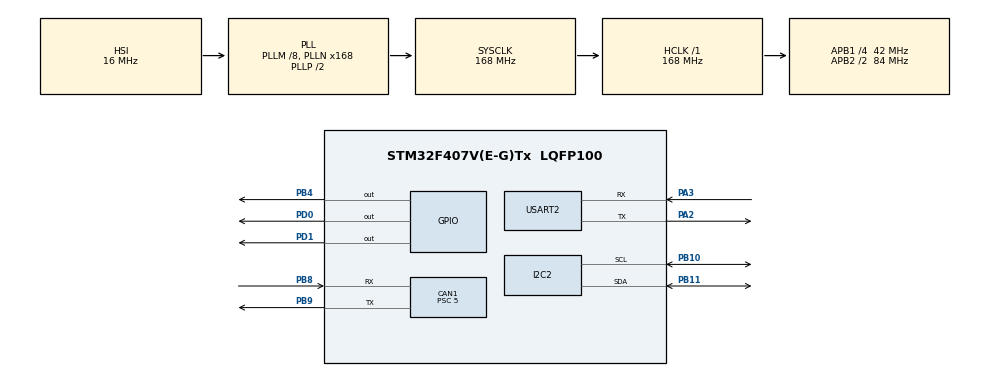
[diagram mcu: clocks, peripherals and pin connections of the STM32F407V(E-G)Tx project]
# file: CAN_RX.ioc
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CAN1.BS1=CAN_BS1_13TQ
CAN1.BS2=CAN_BS2_2TQ
CAN1.CalculateBaudRate=525000
CAN1.CalculateTimeBit=1904
CAN1.CalculateTimeQuantum=119.04761904761905
CAN1.NART=ENABLE
CAN1.Prescaler=5
Mcu.Family=STM32F4
Mcu.Name=STM32F407V(E-G)Tx
Mcu.Package=LQFP100
NVIC.PriorityGroup=NVIC_PRIORITYGROUP_0
PA2.Mode=Asynchronous
PA2.Signal=USART2_TX
PA3.Mode=Asynchronous
PA3.Signal=USART2_RX
PB10.Mode=I2C
PB10.Signal=I2C2_SCL
PB11.Mode=I2C
PB11.Signal=I2C2_SDA
PB4.Signal=GPIO_Output
PB8.Mode=CAN_Activate
PB8.Signal=CAN1_RX
PB9.Mode=CAN_Activate
PB9.Signal=CAN1_TX
PD0.Signal=GPIO_Output
PD1.Signal=GPIO_Output
ProjectManager.HeapSize=0x200
ProjectManager.StackSize=0x400
ProjectManager.TargetToolchain=STM32CubeIDE
RCC.48MHZClocksFreq_Value=48000000
RCC.AHBFreq_Value=168000000
RCC.APB1CLKDivider=RCC_HCLK_DIV4
RCC.APB1Freq_Value=42000000
RCC.APB1TimFreq_Value=84000000
RCC.APB2CLKDivider=RCC_HCLK_DIV2
RCC.APB2Freq_Value=84000000
RCC.APB2TimFreq_Value=168000000
RCC.CortexFreq_Value=168000000
RCC.HCLKFreq_Value=168000000
RCC.HSE_VALUE=8000000
RCC.HSI_VALUE=16000000
RCC.LSE_VALUE=32768
RCC.PLLM=8
RCC.PLLN=168
RCC.PLLQ=7
RCC.SYSCLKFreq_VALUE=168000000
RCC.SYSCLKSource=RCC_SYSCLKSOURCE_PLLCLK
RCC.VCOOutputFreq_Value=336000000
USART2.VirtualMode=VM_ASYNC
board=STM32F407G-DISC1

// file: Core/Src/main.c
/* USER CODE BEGIN Header */
/**
  ******************************************************************************
  * @file           : main.c
  * @brief          : Main program body
  ******************************************************************************
  * @attention
  *
  * Copyright (c) 2026 STMicroelectronics.
  * All rights reserved.
  *
  * This software is licensed under terms that can be found in the LICENSE file
  * in the root directory of this software component.
  * If no LICENSE file comes with this software, it is provided AS-IS.
  *
  ******************************************************************************
  */
/* USER CODE END Header */
#include "main.h"

/* USER CODE BEGIN Includes */
#include "common.h"
#include "can_driver.h"
#include "lcd.h"
#include "indicator.h"
#include "buzzer.h"
#include <stdio.h>
#include <string.h>
/* USER CODE END Includes */

CAN_HandleTypeDef hcan1;

I2C_HandleTypeDef hi2c2;

UART_HandleTypeDef huart2;

/* USER CODE BEGIN PV */
SensorData_t Sensor;
SystemStatus_t PrevStatus = STATUS_NORMAL;
/* USER CODE END PV */

void SystemClock_Config(void);
static void MX_GPIO_Init(void);
static void MX_CAN1_Init(void);
static void MX_I2C2_Init(void);
static void MX_USART2_UART_Init(void);

int main(void)
{

  /* MCU Configuration--------------------------------------------------------*/

  /* Reset of all peripherals, Initializes the Flash interface and the Systick. */
  HAL_Init();

  /* Configure the system clock */
  SystemClock_Config();

  /* Initialize all configured peripherals */
  MX_GPIO_Init();
  MX_CAN1_Init();
  MX_I2C2_Init();
  MX_USART2_UART_Init();
  /* USER CODE BEGIN 2 */
  CAN_Driver_Init();

  lcd_init();

  LCD_ShowWaiting();
  /* USER CODE END 2 */

  /* Infinite loop */
  /* USER CODE BEGIN WHILE */
  while (1)
  {
	  if (CAN_ReceivePacket(&Sensor) == HAL_OK)
	  {
	      Indicator_Update(Sensor.Status);

	      LCD_Update(&Sensor);
	      PrevStatus = Sensor.Status;

	      Buzzer_Update(Sensor.Status);
	      char uartMsg[100];

	      sprintf(uartMsg,
	               "STATUS:%s,TEMP:%d,HUM:%d,VIB:%d,GAS:%d\r\n",
	               (Sensor.Status == STATUS_NORMAL) ? "SAFE" : "EMERGENCY",
	               Sensor.Temperature,
	               Sensor.Humidity,
	               (uint16_t)Sensor.Vibration,
	               Sensor.GasDetected);

	      HAL_UART_Transmit(&huart2,
	                        (uint8_t *)uartMsg,
	                        strlen(uartMsg),
	                        HAL_MAX_DELAY);
	  }

    /* USER CODE END WHILE */

  }
}

void SystemClock_Config(void)
{
  RCC_OscInitTypeDef RCC_OscInitStruct = {0};
  RCC_ClkInitTypeDef RCC_ClkInitStruct = {0};

  /** Configure the main internal regulator output voltage
  */
  __HAL_RCC_PWR_CLK_ENABLE();
  __HAL_PWR_VOLTAGESCALING_CONFIG(PWR_REGULATOR_VOLTAGE_SCALE1);

  /** Initializes the RCC Oscillators according to the specified parameters
  * in the RCC_OscInitTypeDef structure.
  */
  RCC_OscInitStruct.OscillatorType = RCC_OSCILLATORTYPE_HSI;
  RCC_OscInitStruct.HSIState = RCC_HSI_ON;
  RCC_OscInitStruct.HSICalibrationValue = RCC_HSICALIBRATION_DEFAULT;
  RCC_OscInitStruct.PLL.PLLState = RCC_PLL_ON;
  RCC_OscInitStruct.PLL.PLLSource = RCC_PLLSOURCE_HSI;
  RCC_OscInitStruct.PLL.PLLM = 8;
  RCC_OscInitStruct.PLL.PLLN = 168;
  RCC_OscInitStruct.PLL.PLLP = RCC_PLLP_DIV2;
  RCC_OscInitStruct.PLL.PLLQ = 7;
  if (HAL_RCC_OscConfig(&RCC_OscInitStruct) != HAL_OK)
  {
    Error_Handler();
  }

  /** Initializes the CPU, AHB and APB buses clocks
  */
  RCC_ClkInitStruct.ClockType = RCC_CLOCKTYPE_HCLK|RCC_CLOCKTYPE_SYSCLK
                              |RCC_CLOCKTYPE_PCLK1|RCC_CLOCKTYPE_PCLK2;
  RCC_ClkInitStruct.SYSCLKSource = RCC_SYSCLKSOURCE_PLLCLK;
  RCC_ClkInitStruct.AHBCLKDivider = RCC_SYSCLK_DIV1;
  RCC_ClkInitStruct.APB1CLKDivider = RCC_HCLK_DIV4;
  RCC_ClkInitStruct.APB2CLKDivider = RCC_HCLK_DIV2;

  if (HAL_RCC_ClockConfig(&RCC_ClkInitStruct, FLASH_LATENCY_5) != HAL_OK)
  {
    Error_Handler();
  }
}

static void MX_CAN1_Init(void)
{

  hcan1.Instance = CAN1;
  hcan1.Init.Prescaler = 5;
  hcan1.Init.Mode = CAN_MODE_NORMAL;
  hcan1.Init.SyncJumpWidth = CAN_SJW_1TQ;
  hcan1.Init.TimeSeg1 = CAN_BS1_13TQ;
  hcan1.Init.TimeSeg2 = CAN_BS2_2TQ;
  hcan1.Init.TimeTriggeredMode = DISABLE;
  hcan1.Init.AutoBusOff = DISABLE;
  hcan1.Init.AutoWakeUp = DISABLE;
  hcan1.Init.AutoRetransmission = ENABLE;
  hcan1.Init.ReceiveFifoLocked = DISABLE;
  hcan1.Init.TransmitFifoPriority = DISABLE;
  if (HAL_CAN_Init(&hcan1) != HAL_OK)
  {
    Error_Handler();
  }

}

static void MX_I2C2_Init(void)
{

  hi2c2.Instance = I2C2;
  hi2c2.Init.ClockSpeed = 100000;
  hi2c2.Init.DutyCycle = I2C_DUTYCYCLE_2;
  hi2c2.Init.OwnAddress1 = 0;
  hi2c2.Init.AddressingMode = I2C_ADDRESSINGMODE_7BIT;
  hi2c2.Init.DualAddressMode = I2C_DUALADDRESS_DISABLE;
  hi2c2.Init.OwnAddress2 = 0;
  hi2c2.Init.GeneralCallMode = I2C_GENERALCALL_DISABLE;
  hi2c2.Init.NoStretchMode = I2C_NOSTRETCH_DISABLE;
  if (HAL_I2C_Init(&hi2c2) != HAL_OK)
  {
    Error_Handler();
  }

}

static void MX_USART2_UART_Init(void)
{

  huart2.Instance = USART2;
  huart2.Init.BaudRate = 115200;
  huart2.Init.WordLength = UART_WORDLENGTH_8B;
  huart2.Init.StopBits = UART_STOPBITS_1;
  huart2.Init.Parity = UART_PARITY_NONE;
  huart2.Init.Mode = UART_MODE_TX_RX;
  huart2.Init.HwFlowCtl = UART_HWCONTROL_NONE;
  huart2.Init.OverSampling = UART_OVERSAMPLING_16;
  if (HAL_UART_Init(&huart2) != HAL_OK)
  {
    Error_Handler();
  }

}

static void MX_GPIO_Init(void)
{
  GPIO_InitTypeDef GPIO_InitStruct = {0};

  /* GPIO Ports Clock Enable */
  __HAL_RCC_GPIOA_CLK_ENABLE();
  __HAL_RCC_GPIOB_CLK_ENABLE();
  __HAL_RCC_GPIOD_CLK_ENABLE();

  /*Configure GPIO pin Output Level */
  HAL_GPIO_WritePin(GPIOD, GPIO_PIN_0|GPIO_PIN_1, GPIO_PIN_RESET);

  /*Configure GPIO pin Output Level */
  HAL_GPIO_WritePin(GPIOB, GPIO_PIN_4, GPIO_PIN_RESET);

  /*Configure GPIO pins : PD0 PD1 */
  GPIO_InitStruct.Pin = GPIO_PIN_0|GPIO_PIN_1;
  GPIO_InitStruct.Mode = GPIO_MODE_OUTPUT_PP;
  GPIO_InitStruct.Pull = GPIO_NOPULL;
  GPIO_InitStruct.Speed = GPIO_SPEED_FREQ_LOW;
  HAL_GPIO_Init(GPIOD, &GPIO_InitStruct);

  /*Configure GPIO pin : PB4 */
  GPIO_InitStruct.Pin = GPIO_PIN_4;
  GPIO_InitStruct.Mode = GPIO_MODE_OUTPUT_PP;
  GPIO_InitStruct.Pull = GPIO_NOPULL;
  GPIO_InitStruct.Speed = GPIO_SPEED_FREQ_LOW;
  HAL_GPIO_Init(GPIOB, &GPIO_InitStruct);

}

void Error_Handler(void)
{
  __disable_irq();
  while (1)
  {
  }
}
